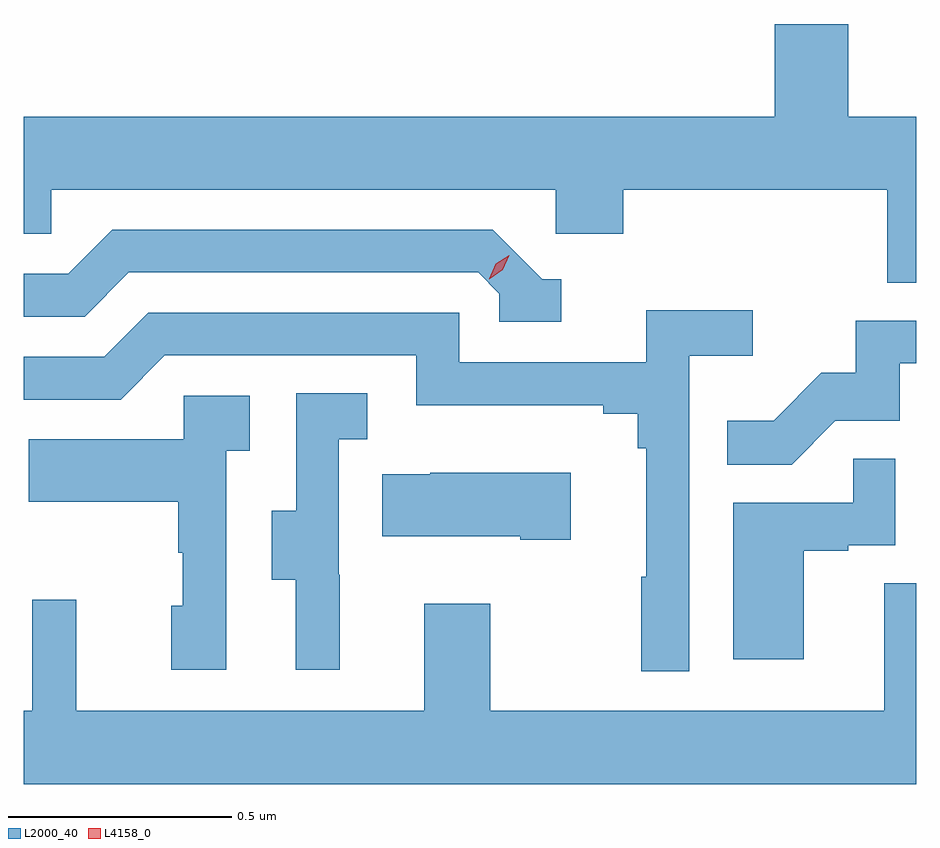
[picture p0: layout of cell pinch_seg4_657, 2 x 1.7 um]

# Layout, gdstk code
import gdstk
lib = gdstk.Library(unit=1e-6, precision=1e-09)
def P(c, l, *ps):  # polygons
    for p in ps: c.add(gdstk.Polygon(p, *l))
L2000_40 = (2000, 40)
L4158_0 = (4158, 0)

pinch_seg4_657 = lib.new_cell('pinch_seg4_657')
P(pinch_seg4_657, L2000_40, [(1070.626,762.352),(1070.474,762.352),(1070.474,762.56),(1070.309,762.56),(1070.309,762.352),(1068.626,762.352),(1068.626,762.09),(1068.687,762.09),(1068.687,762.188),(1069.818,762.188),(1069.818,762.09),(1069.97,762.09),(1069.97,762.188),(1070.561,762.188),(1070.561,761.98),(1070.626,761.98)],
  [(1069.831,761.988),(1069.788,761.988),(1069.677,762.099),(1068.824,762.099),(1068.725,762),(1068.626,762),(1068.626,761.904),(1068.762,761.904),(1068.861,762.003),(1069.644,762.003),(1069.692,761.955),(1069.692,761.892),(1069.831,761.892)],
  [(1070.118,761.816),(1070.26,761.816),(1070.26,761.918),(1070.021,761.918),(1070.021,761.802),(1069.602,761.802),(1069.602,761.913),(1068.905,761.913),(1068.806,761.814),(1068.626,761.814),(1068.626,761.718),(1068.843,761.718),(1068.942,761.817),(1069.506,761.817),(1069.506,761.705),(1069.925,761.705),(1069.925,761.686),(1070.002,761.686),(1070.002,761.609),(1070.021,761.609),(1070.021,761.321),(1070.01,761.321),(1070.01,761.109),(1070.118,761.109)],
  [(1070.445,761.67),(1070.589,761.67),(1070.589,761.799),(1070.626,761.799),(1070.626,761.895),(1070.491,761.895),(1070.491,761.778),(1070.414,761.778),(1070.307,761.671),(1070.203,761.671),(1070.203,761.572),(1070.347,761.572)],
  [(1069.334,761.325),(1069.332,761.325),(1069.332,761.629),(1069.396,761.629),(1069.396,761.732),(1069.236,761.732),(1069.236,761.469),(1069.181,761.469),(1069.181,761.314),(1069.235,761.314),(1069.235,761.112),(1069.334,761.112)],
  [(1069.08,761.603),(1069.132,761.603),(1069.132,761.727),(1068.984,761.727),(1068.984,761.629),(1068.637,761.629),(1068.637,761.489),(1068.972,761.489),(1068.972,761.375),(1068.982,761.375),(1068.982,761.256),(1068.956,761.256),(1068.956,761.112),(1069.08,761.112)],
  [(1070.374,761.379),(1070.474,761.379),(1070.474,761.391),(1070.58,761.391),(1070.58,761.585),(1070.485,761.585),(1070.485,761.487),(1070.216,761.487),(1070.216,761.136),(1070.374,761.136)],
  [(1069.852,761.554),(1069.537,761.554),(1069.537,761.551),(1069.429,761.551),(1069.429,761.411),(1069.739,761.411),(1069.739,761.404),(1069.852,761.404)],
  [(1070.626,761.306),(1070.555,761.306),(1070.555,761.02),(1069.671,761.02),(1069.671,761.26),(1069.523,761.26),(1069.523,761.02),(1068.743,761.02),(1068.743,761.269),(1068.645,761.269),(1068.645,761.02),(1068.626,761.02),(1068.626,760.856),(1070.626,760.856)])
P(pinch_seg4_657, L4158_0, [(1069.669,761.988),(1069.669,761.989),(1069.684,762.022),(1069.714,762.042),(1069.714,762.042),(1069.714,762.042),(1069.699,762.009),(1069.669,761.988)])

lib.write_gds('pinch_seg4_657.gds')
